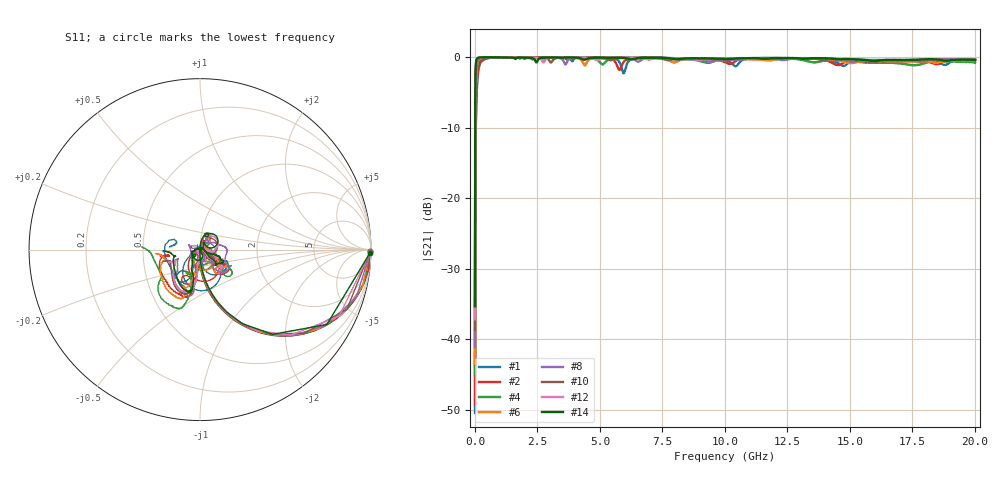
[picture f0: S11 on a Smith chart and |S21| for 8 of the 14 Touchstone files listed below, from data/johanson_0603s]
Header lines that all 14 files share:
!Johanson Technology Inc.
!www.johansontechnology.com
!Test Board Conditions:
!Substrate Type  RO4350B
!Substrate Thickness  20 mil
!Substrate Dk  3.66
!TL Type: GCPW
!TL Trace Width  36 mil
!TL Gap  12 mil
!Electrode orientation  Horizontal
!DUT TOPOLOGY	SERIES
!Mounting Pad LxW  26x36 mil
! Created Wed Nov 25 17:33:21 2020
! 2 Port Network Data from SP1.SP block
! freq  magS11  angS11  magS21  angS21  magS12  angS12  magS22  angS22
# khz S ma R 50
! decimated to every 10th point (10 MHz spacing) of the original 1 MHz Johanson file; values unchanged
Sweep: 300 kHz to 20 GHz
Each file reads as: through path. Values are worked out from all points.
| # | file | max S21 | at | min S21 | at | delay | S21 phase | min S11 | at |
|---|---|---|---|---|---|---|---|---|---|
| 1 | R14S160-H-SER.s2p | 0.00 dB | 1.22 GHz | -50.5 dB | 300 kHz | 35.7 ps | -124 deg at 10 GHz | -67.4 dB | 1.26 GHz |
| 2 | R14S180-H-SER.s2p | 0.00 dB | 1.05 GHz | -49.3 dB | 300 kHz | 35.8 ps | -124 deg at 10 GHz | -51.7 dB | 1.18 GHz |
| 3 | R14S270-H-SER.s2p | 0.00 dB | 1.02 GHz | -46.0 dB | 300 kHz | 35.7 ps | -121 deg at 10 GHz | -53.6 dB | 1 GHz |
| 4 | R14S300-H-SER.s2p | 0.00 dB | 860.3 MHz | -45.0 dB | 300 kHz | 36.1 ps | -122 deg at 10 GHz | -64.8 dB | 830.3 MHz |
| 5 | R14S330-H-SER.s2p | 0.00 dB | 920.3 MHz | -44.1 dB | 300 kHz | 35.9 ps | -124 deg at 10 GHz | -61.0 dB | 6.49 GHz |
| 6 | R14S360-H-SER.s2p | 0.00 dB | 760.3 MHz | -43.5 dB | 300 kHz | 36.1 ps | -125 deg at 10 GHz | -65.7 dB | 6.5 GHz |
| 7 | R14S430-H-SER.s2p | 0.00 dB | 610.3 MHz | -41.7 dB | 300 kHz | 34.7 ps | -120 deg at 10 GHz | -62.5 dB | 660.3 MHz |
| 8 | R14S470-H-SER.s2p | 0.00 dB | 630.3 MHz | -41.1 dB | 300 kHz | 34.5 ps | -119 deg at 10 GHz | -61.8 dB | 670.3 MHz |
| 9 | R14S510-H-SER.s2p | 0.00 dB | 610.3 MHz | -40.2 dB | 300 kHz | 34.7 ps | -120 deg at 10 GHz | -62.9 dB | 630.3 MHz |
| 10 | R14S620-H-SER.s2p | 0.00 dB | 610.3 MHz | -38.6 dB | 300 kHz | 34.9 ps | -120 deg at 10 GHz | -61.9 dB | 560.3 MHz |
| 11 | R14S680-H-SER.s2p | 0.00 dB | 610.3 MHz | -37.7 dB | 300 kHz | 34.8 ps | -120 deg at 10 GHz | -66.8 dB | 580.3 MHz |
| 12 | R14S750-H-SER.s2p | 0.00 dB | 580.3 MHz | -37.2 dB | 300 kHz | 35 ps | -121 deg at 10 GHz | -65.7 dB | 520.3 MHz |
| 13 | R14S820-H-SER.s2p | 0.00 dB | 670.3 MHz | -36.3 dB | 300 kHz | 35.1 ps | -121 deg at 10 GHz | -66.9 dB | 570.3 MHz |
| 14 | R14S910-H-SER.s2p | 0.00 dB | 470.3 MHz | -35.3 dB | 300 kHz | 34.7 ps | -120 deg at 10 GHz | -60.9 dB | 470.3 MHz |
